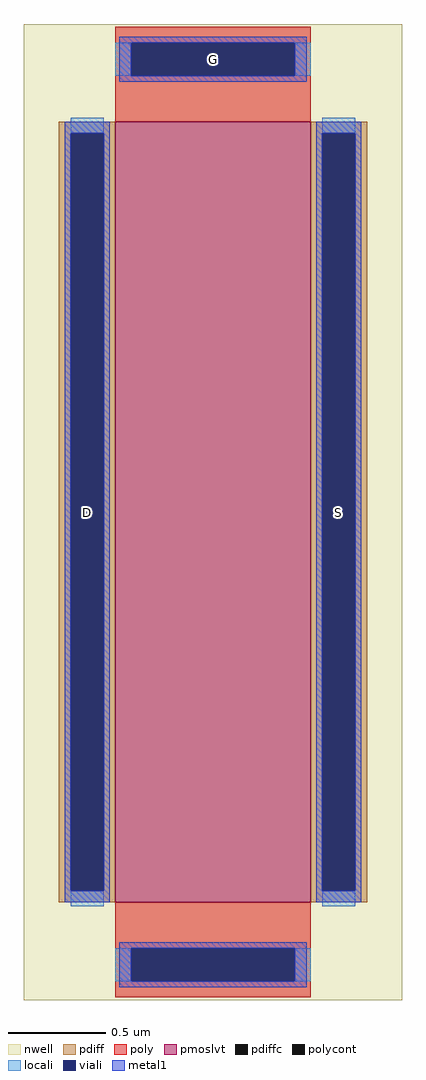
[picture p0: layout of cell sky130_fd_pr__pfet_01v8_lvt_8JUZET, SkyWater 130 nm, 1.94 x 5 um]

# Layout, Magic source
magic
tech sky130A
magscale 1 2
<< nwell >>
rect -194 -500 194 500
<< pmoslvt >>
rect -100 -400 100 400
<< pdiff >>
rect -158 388 -100 400
rect -158 -388 -146 388
rect -112 -388 -100 388
rect -158 -400 -100 -388
rect 100 388 158 400
rect 100 -388 112 388
rect 146 -388 158 388
rect 100 -400 158 -388
<< pdiffc >>
rect -146 -388 -112 388
rect 112 -388 146 388
<< poly >>
rect -100 481 100 497
rect -100 447 -84 481
rect 84 447 100 481
rect -100 400 100 447
rect -100 -447 100 -400
rect -100 -481 -84 -447
rect 84 -481 100 -447
rect -100 -497 100 -481
<< polycont >>
rect -84 447 84 481
rect -84 -481 84 -447
<< locali >>
rect -100 447 -84 481
rect 84 447 100 481
rect -146 388 -112 404
rect -146 -404 -112 -388
rect 112 388 146 404
rect 112 -404 146 -388
rect -100 -481 -84 -447
rect 84 -481 100 -447
<< viali >>
rect -84 447 84 481
rect -146 -388 -112 388
rect 112 -388 146 388
rect -84 -481 84 -447
<< metal1 >>
rect -96 481 96 487
rect -96 447 -84 481
rect 84 447 96 481
rect -96 441 96 447
rect -152 388 -106 400
rect -152 -388 -146 388
rect -112 -388 -106 388
rect -152 -400 -106 -388
rect 106 388 152 400
rect 106 -388 112 388
rect 146 -388 152 388
rect 106 -400 152 -388
rect -96 -447 96 -441
rect -96 -481 -84 -447
rect 84 -481 96 -447
rect -96 -487 96 -481
<< labels >>
rlabel pdiffc -129 0 -129 0 0 D
port 1 nsew
rlabel pdiffc 129 0 129 0 0 S
port 2 nsew
rlabel polycont 0 464 0 464 0 G
port 3 nsew
<< properties >>
string gencell sky130_fd_pr__pfet_01v8_lvt
string library sky130
string parameters w 4.0 l 1.0 m 1 nf 1 diffcov 100 polycov 100 guard 0 glc 1 grc 1 gtc 1 gbc 1 tbcov 100 rlcov 100 topc 1 botc 1 poverlap 0 doverlap 1 lmin 0.35 wmin 0.42 class mosfet compatible {sky130_fd_pr__pfet_01v8  sky130_fd_pr__pfet_01v8_lvt sky130_fd_pr__pfet_01v8_hvt  sky130_fd_pr__pfet_g5v0d10v5} full_metal 1 conn_gates 0 viasrc 100 viadrn 100 viagate 100 viagb 0 viagr 0 viagl 0 viagt 0 doports 1
<< end >>
